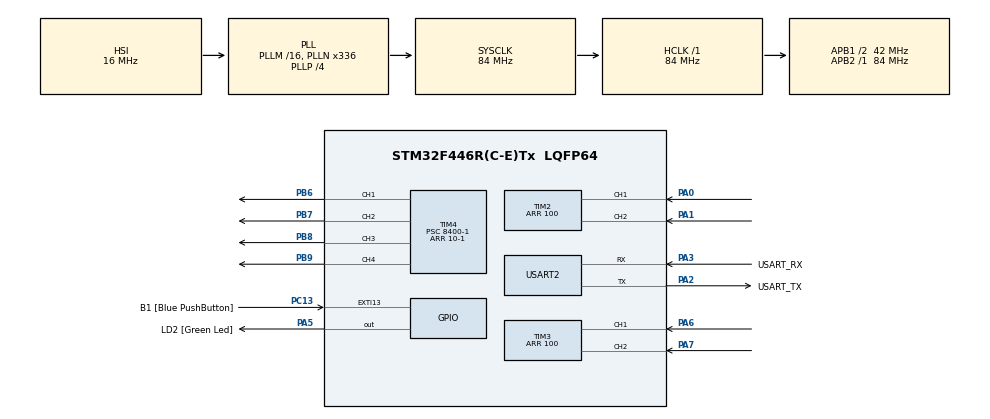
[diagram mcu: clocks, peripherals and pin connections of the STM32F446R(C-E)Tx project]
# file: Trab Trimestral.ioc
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Mcu.Family=STM32F4
Mcu.Name=STM32F446R(C-E)Tx
Mcu.Package=LQFP64
NVIC.PriorityGroup=NVIC_PRIORITYGROUP_0
NVIC.TIM2_IRQn=true\:0\:0\:false\:false\:true\:true\:true\:true
PA0-WKUP.GPIO_PuPd=GPIO_PULLDOWN
PA0-WKUP.Signal=S_TIM2_CH1_ETR
PA1.GPIO_PuPd=GPIO_PULLDOWN
PA1.Signal=S_TIM2_CH2
PA13.GPIO_Label=TMS
PA13.Mode=Serial_Wire
PA13.Signal=SYS_JTMS-SWDIO
PA14.GPIO_Label=TCK
PA14.Mode=Serial_Wire
PA14.Signal=SYS_JTCK-SWCLK
PA2.GPIO_Label=USART_TX
PA2.Mode=Asynchronous
PA2.Signal=USART2_TX
PA3.GPIO_Label=USART_RX
PA3.Mode=Asynchronous
PA3.Signal=USART2_RX
PA5.GPIO_Label=LD2 [Green Led]
PA5.Signal=GPIO_Output
PA6.Signal=S_TIM3_CH1
PA7.Signal=S_TIM3_CH2
PB3.GPIO_Label=SWO
PB3.Signal=SYS_JTDO-SWO
PB6.Signal=S_TIM4_CH1
PB7.Signal=S_TIM4_CH2
PB8.Signal=S_TIM4_CH3
PB9.Signal=S_TIM4_CH4
PC13.GPIO_Label=B1 [Blue PushButton]
PC13.GPIO_ModeDefaultEXTI=GPIO_MODE_IT_FALLING
PC13.Signal=GPXTI13
PC14-OSC32_IN.Mode=LSE-External-Oscillator
PC14-OSC32_IN.Signal=RCC_OSC32_IN
PC15-OSC32_OUT.Mode=LSE-External-Oscillator
PC15-OSC32_OUT.Signal=RCC_OSC32_OUT
PH0-OSC_IN.Mode=HSE-External-Oscillator
PH0-OSC_IN.Signal=RCC_OSC_IN
PH1-OSC_OUT.Mode=HSE-External-Oscillator
PH1-OSC_OUT.Signal=RCC_OSC_OUT
ProjectManager.HeapSize=0x200
ProjectManager.StackSize=0x400
ProjectManager.TargetToolchain=STM32CubeIDE
RCC.48MHZClocksFreq_Value=84000000
RCC.AHBFreq_Value=84000000
RCC.APB1CLKDivider=RCC_HCLK_DIV2
RCC.APB1Freq_Value=42000000
RCC.APB1TimFreq_Value=84000000
RCC.APB2Freq_Value=84000000
RCC.APB2TimFreq_Value=84000000
RCC.CortexFreq_Value=84000000
RCC.FLatency-AdvancedSettings=FLASH_LATENCY_2
RCC.HCLKFreq_Value=84000000
RCC.HSE_VALUE=8000000
RCC.HSI_VALUE=16000000
RCC.PLLN=336
RCC.PLLP=RCC_PLLP_DIV4
RCC.SYSCLKFreq_VALUE=84000000
RCC.SYSCLKSource=RCC_SYSCLKSOURCE_PLLCLK
RCC.USBFreq_Value=168000000
RCC.VCOOutputFreq_Value=336000000
SH.S_TIM2_CH1_ETR.0=TIM2_CH1,Encoder_Interface
SH.S_TIM2_CH2.0=TIM2_CH2,Encoder_Interface
SH.S_TIM3_CH1.0=TIM3_CH1,Encoder_Interface
SH.S_TIM3_CH2.0=TIM3_CH2,Encoder_Interface
SH.S_TIM4_CH1.0=TIM4_CH1,PWM Generation1 CH1
SH.S_TIM4_CH2.0=TIM4_CH2,PWM Generation2 CH2
SH.S_TIM4_CH3.0=TIM4_CH3,PWM Generation3 CH3
SH.S_TIM4_CH4.0=TIM4_CH4,PWM Generation4 CH4
TIM2.EncoderMode=TIM_ENCODERMODE_TI1
TIM2.IC1Filter=15
TIM2.IC1Polarity=TIM_ICPOLARITY_RISING
TIM2.IC2Filter=15
TIM2.IC2Polarity=TIM_ICPOLARITY_RISING
TIM2.Period=100
TIM3.IC1Filter=15
TIM3.IC2Filter=15
TIM3.Period=100
TIM4.AutoReloadPreload=TIM_AUTORELOAD_PRELOAD_ENABLE
TIM4.Channel-PWM\ Generation1\ CH1=TIM_CHANNEL_1
TIM4.Channel-PWM\ Generation2\ CH2=TIM_CHANNEL_2
TIM4.Channel-PWM\ Generation3\ CH3=TIM_CHANNEL_3
TIM4.Channel-PWM\ Generation4\ CH4=TIM_CHANNEL_4
TIM4.Period=10-1
TIM4.Prescaler=8400-1
TIM4.Pulse-PWM\ Generation1\ CH1=0
USART2.VirtualMode=VM_ASYNC
VP_TIM4_VS_ClockSourceINT.Mode=Internal
board=NUCLEO-F446RE

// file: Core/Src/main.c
/* USER CODE BEGIN Header */
/**
  ******************************************************************************
  * @file           : main.c
  * @brief          : Main program body
  ******************************************************************************
  * @attention
  *
  * Copyright (c) 2022 STMicroelectronics.
  * All rights reserved.
  *
  * This software is licensed under terms that can be found in the LICENSE file
  * in the root directory of this software component.
  * If no LICENSE file comes with this software, it is provided AS-IS.
  *
  ******************************************************************************
  */
/* USER CODE END Header */
#include "main.h"

 TIM_HandleTypeDef htim2;
TIM_HandleTypeDef htim3;
TIM_HandleTypeDef htim4;

UART_HandleTypeDef huart2;

void SystemClock_Config(void);
static void MX_GPIO_Init(void);
static void MX_USART2_UART_Init(void);
static void MX_TIM4_Init(void);
static void MX_TIM2_Init(void);
static void MX_TIM3_Init(void);

int main(void)
{

  /* MCU Configuration--------------------------------------------------------*/

  /* Reset of all peripherals, Initializes the Flash interface and the Systick. */
  HAL_Init();

  /* Configure the system clock */
  SystemClock_Config();

  /* Initialize all configured peripherals */
  MX_GPIO_Init();
  MX_USART2_UART_Init();
  MX_TIM4_Init();
  MX_TIM2_Init();
  MX_TIM3_Init();
  /* USER CODE BEGIN 2 */

  HAL_TIM_Encoder_Start(&htim2, TIM_CHANNEL_ALL); //Ativa o encoder mode para todos os canais do tim2
  HAL_TIM_Encoder_Start(&htim3, TIM_CHANNEL_ALL); //Ativa o encoder mode para todos os canais do tim3
  HAL_TIM_PWM_Start(&htim4, TIM_CHANNEL_1); //Ativa a geração de PWM para o canal 1 do tim 4
  HAL_TIM_PWM_Start(&htim4, TIM_CHANNEL_2); //Ativa a geração de PWM para o canal 2 do tim 4
  HAL_TIM_PWM_Start(&htim4, TIM_CHANNEL_3); //Ativa a geração de PWM para o canal 3 do tim 4
  HAL_TIM_PWM_Start(&htim4, TIM_CHANNEL_4); //Ativa a geração de PWM para o canal 4 do tim 4
  uint32_t valor1=0; //Criando variável que irá receber o valor do ccr do encoder 1 (tim2)
  uint32_t valor2=0; //Criando variável que irá receber o valor do ccr do encoder 2 (tim3)
  __HAL_TIM_SET_COUNTER(&htim2, 10); //Setando os contadores dos encoders para o ponto de referência (tim2)
  __HAL_TIM_SET_COUNTER(&htim3, 10); //Setando os contadores dos encoders para o ponto de referência (tim3)

  /* USER CODE END 2 */

  /* Infinite loop */
  /* USER CODE BEGIN WHILE */
  while (1)
  {
	 valor1 = __HAL_TIM_GET_COUNTER(&htim2);//atribui ao valor da variável o valor do contador
	 valor2 = __HAL_TIM_GET_COUNTER(&htim3);
	 if (valor1>10)
	 {
		 TIM4->CCR1=valor1-10;
	 }
	 if (valor1<10)
	 {
		 TIM4->CCR2=-valor1+10;
	 }
	 if (valor2>10)
	 {
		 TIM4->CCR3=valor2-10;
	 }
	 if (valor2<10)
	 {
		 TIM4->CCR4=-valor2+10;
	 }
	 if (valor1==10)
	 {
		 TIM4->CCR1=0;
		 TIM4->CCR2=0;
	 }
	 if (valor2==10)
	 {
		 TIM4->CCR3=0;
		 TIM4->CCR4=0;
	 }

    /* USER CODE END WHILE */

  }
}

void SystemClock_Config(void)
{
  RCC_OscInitTypeDef RCC_OscInitStruct = {0};
  RCC_ClkInitTypeDef RCC_ClkInitStruct = {0};

  /** Configure the main internal regulator output voltage
  */
  __HAL_RCC_PWR_CLK_ENABLE();
  __HAL_PWR_VOLTAGESCALING_CONFIG(PWR_REGULATOR_VOLTAGE_SCALE3);

  /** Initializes the RCC Oscillators according to the specified parameters
  * in the RCC_OscInitTypeDef structure.
  */
  RCC_OscInitStruct.OscillatorType = RCC_OSCILLATORTYPE_HSI;
  RCC_OscInitStruct.HSIState = RCC_HSI_ON;
  RCC_OscInitStruct.HSICalibrationValue = RCC_HSICALIBRATION_DEFAULT;
  RCC_OscInitStruct.PLL.PLLState = RCC_PLL_ON;
  RCC_OscInitStruct.PLL.PLLSource = RCC_PLLSOURCE_HSI;
  RCC_OscInitStruct.PLL.PLLM = 16;
  RCC_OscInitStruct.PLL.PLLN = 336;
  RCC_OscInitStruct.PLL.PLLP = RCC_PLLP_DIV4;
  RCC_OscInitStruct.PLL.PLLQ = 2;
  RCC_OscInitStruct.PLL.PLLR = 2;
  if (HAL_RCC_OscConfig(&RCC_OscInitStruct) != HAL_OK)
  {
    Error_Handler();
  }

  /** Initializes the CPU, AHB and APB buses clocks
  */
  RCC_ClkInitStruct.ClockType = RCC_CLOCKTYPE_HCLK|RCC_CLOCKTYPE_SYSCLK
                              |RCC_CLOCKTYPE_PCLK1|RCC_CLOCKTYPE_PCLK2;
  RCC_ClkInitStruct.SYSCLKSource = RCC_SYSCLKSOURCE_PLLCLK;
  RCC_ClkInitStruct.AHBCLKDivider = RCC_SYSCLK_DIV1;
  RCC_ClkInitStruct.APB1CLKDivider = RCC_HCLK_DIV2;
  RCC_ClkInitStruct.APB2CLKDivider = RCC_HCLK_DIV1;

  if (HAL_RCC_ClockConfig(&RCC_ClkInitStruct, FLASH_LATENCY_2) != HAL_OK)
  {
    Error_Handler();
  }
}

static void MX_TIM2_Init(void)
{

  TIM_Encoder_InitTypeDef sConfig = {0};
  TIM_MasterConfigTypeDef sMasterConfig = {0};

  htim2.Instance = TIM2;
  htim2.Init.Prescaler = 0;
  htim2.Init.CounterMode = TIM_COUNTERMODE_UP;
  htim2.Init.Period = 100;
  htim2.Init.ClockDivision = TIM_CLOCKDIVISION_DIV1;
  htim2.Init.AutoReloadPreload = TIM_AUTORELOAD_PRELOAD_DISABLE;
  sConfig.EncoderMode = TIM_ENCODERMODE_TI1;
  sConfig.IC1Polarity = TIM_ICPOLARITY_RISING;
  sConfig.IC1Selection = TIM_ICSELECTION_DIRECTTI;
  sConfig.IC1Prescaler = TIM_ICPSC_DIV1;
  sConfig.IC1Filter = 15;
  sConfig.IC2Polarity = TIM_ICPOLARITY_RISING;
  sConfig.IC2Selection = TIM_ICSELECTION_DIRECTTI;
  sConfig.IC2Prescaler = TIM_ICPSC_DIV1;
  sConfig.IC2Filter = 15;
  if (HAL_TIM_Encoder_Init(&htim2, &sConfig) != HAL_OK)
  {
    Error_Handler();
  }
  sMasterConfig.MasterOutputTrigger = TIM_TRGO_RESET;
  sMasterConfig.MasterSlaveMode = TIM_MASTERSLAVEMODE_DISABLE;
  if (HAL_TIMEx_MasterConfigSynchronization(&htim2, &sMasterConfig) != HAL_OK)
  {
    Error_Handler();
  }

}

static void MX_TIM3_Init(void)
{

  TIM_Encoder_InitTypeDef sConfig = {0};
  TIM_MasterConfigTypeDef sMasterConfig = {0};

  htim3.Instance = TIM3;
  htim3.Init.Prescaler = 0;
  htim3.Init.CounterMode = TIM_COUNTERMODE_UP;
  htim3.Init.Period = 100;
  htim3.Init.ClockDivision = TIM_CLOCKDIVISION_DIV1;
  htim3.Init.AutoReloadPreload = TIM_AUTORELOAD_PRELOAD_DISABLE;
  sConfig.EncoderMode = TIM_ENCODERMODE_TI1;
  sConfig.IC1Polarity = TIM_ICPOLARITY_RISING;
  sConfig.IC1Selection = TIM_ICSELECTION_DIRECTTI;
  sConfig.IC1Prescaler = TIM_ICPSC_DIV1;
  sConfig.IC1Filter = 15;
  sConfig.IC2Polarity = TIM_ICPOLARITY_RISING;
  sConfig.IC2Selection = TIM_ICSELECTION_DIRECTTI;
  sConfig.IC2Prescaler = TIM_ICPSC_DIV1;
  sConfig.IC2Filter = 15;
  if (HAL_TIM_Encoder_Init(&htim3, &sConfig) != HAL_OK)
  {
    Error_Handler();
  }
  sMasterConfig.MasterOutputTrigger = TIM_TRGO_RESET;
  sMasterConfig.MasterSlaveMode = TIM_MASTERSLAVEMODE_DISABLE;
  if (HAL_TIMEx_MasterConfigSynchronization(&htim3, &sMasterConfig) != HAL_OK)
  {
    Error_Handler();
  }

}

static void MX_TIM4_Init(void)
{

  TIM_ClockConfigTypeDef sClockSourceConfig = {0};
  TIM_MasterConfigTypeDef sMasterConfig = {0};
  TIM_OC_InitTypeDef sConfigOC = {0};

  htim4.Instance = TIM4;
  htim4.Init.Prescaler = 8400-1;
  htim4.Init.CounterMode = TIM_COUNTERMODE_UP;
  htim4.Init.Period = 10-1;
  htim4.Init.ClockDivision = TIM_CLOCKDIVISION_DIV1;
  htim4.Init.AutoReloadPreload = TIM_AUTORELOAD_PRELOAD_ENABLE;
  if (HAL_TIM_Base_Init(&htim4) != HAL_OK)
  {
    Error_Handler();
  }
  sClockSourceConfig.ClockSource = TIM_CLOCKSOURCE_INTERNAL;
  if (HAL_TIM_ConfigClockSource(&htim4, &sClockSourceConfig) != HAL_OK)
  {
    Error_Handler();
  }
  if (HAL_TIM_PWM_Init(&htim4) != HAL_OK)
  {
    Error_Handler();
  }
  sMasterConfig.MasterOutputTrigger = TIM_TRGO_RESET;
  sMasterConfig.MasterSlaveMode = TIM_MASTERSLAVEMODE_DISABLE;
  if (HAL_TIMEx_MasterConfigSynchronization(&htim4, &sMasterConfig) != HAL_OK)
  {
    Error_Handler();
  }
  sConfigOC.OCMode = TIM_OCMODE_PWM1;
  sConfigOC.Pulse = 0;
  sConfigOC.OCPolarity = TIM_OCPOLARITY_HIGH;
  sConfigOC.OCFastMode = TIM_OCFAST_DISABLE;
  if (HAL_TIM_PWM_ConfigChannel(&htim4, &sConfigOC, TIM_CHANNEL_1) != HAL_OK)
  {
    Error_Handler();
  }
  if (HAL_TIM_PWM_ConfigChannel(&htim4, &sConfigOC, TIM_CHANNEL_2) != HAL_OK)
  {
    Error_Handler();
  }
  if (HAL_TIM_PWM_ConfigChannel(&htim4, &sConfigOC, TIM_CHANNEL_3) != HAL_OK)
  {
    Error_Handler();
  }
  if (HAL_TIM_PWM_ConfigChannel(&htim4, &sConfigOC, TIM_CHANNEL_4) != HAL_OK)
  {
    Error_Handler();
  }
  HAL_TIM_MspPostInit(&htim4);

}

static void MX_USART2_UART_Init(void)
{

  huart2.Instance = USART2;
  huart2.Init.BaudRate = 115200;
  huart2.Init.WordLength = UART_WORDLENGTH_8B;
  huart2.Init.StopBits = UART_STOPBITS_1;
  huart2.Init.Parity = UART_PARITY_NONE;
  huart2.Init.Mode = UART_MODE_TX_RX;
  huart2.Init.HwFlowCtl = UART_HWCONTROL_NONE;
  huart2.Init.OverSampling = UART_OVERSAMPLING_16;
  if (HAL_UART_Init(&huart2) != HAL_OK)
  {
    Error_Handler();
  }

}

static void MX_GPIO_Init(void)
{
  GPIO_InitTypeDef GPIO_InitStruct = {0};

  /* GPIO Ports Clock Enable */
  __HAL_RCC_GPIOC_CLK_ENABLE();
  __HAL_RCC_GPIOH_CLK_ENABLE();
  __HAL_RCC_GPIOA_CLK_ENABLE();
  __HAL_RCC_GPIOB_CLK_ENABLE();

  /*Configure GPIO pin Output Level */
  HAL_GPIO_WritePin(LD2_GPIO_Port, LD2_Pin, GPIO_PIN_RESET);

  /*Configure GPIO pin : B1_Pin */
  GPIO_InitStruct.Pin = B1_Pin;
  GPIO_InitStruct.Mode = GPIO_MODE_IT_FALLING;
  GPIO_InitStruct.Pull = GPIO_NOPULL;
  HAL_GPIO_Init(B1_GPIO_Port, &GPIO_InitStruct);

  /*Configure GPIO pin : LD2_Pin */
  GPIO_InitStruct.Pin = LD2_Pin;
  GPIO_InitStruct.Mode = GPIO_MODE_OUTPUT_PP;
  GPIO_InitStruct.Pull = GPIO_NOPULL;
  GPIO_InitStruct.Speed = GPIO_SPEED_FREQ_LOW;
  HAL_GPIO_Init(LD2_GPIO_Port, &GPIO_InitStruct);

}

void Error_Handler(void)
{
  __disable_irq();
  while (1)
  {
  }
}
